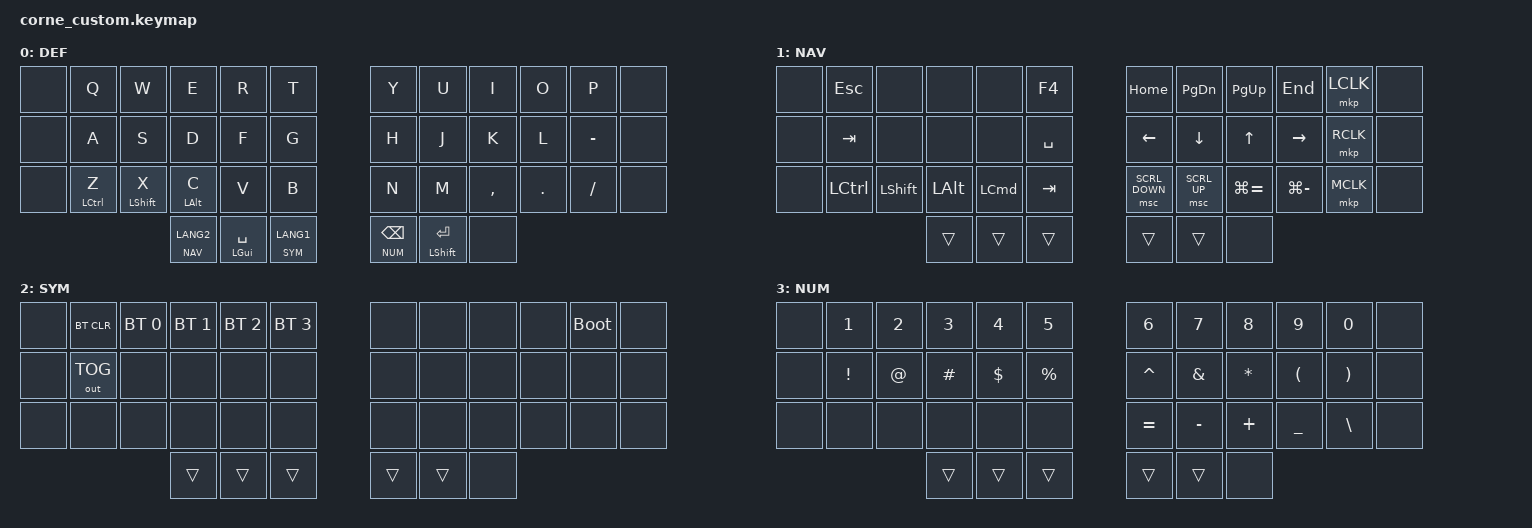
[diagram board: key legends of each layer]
/*
 * Corne Custom Keymap - Atreus Style
 */

#include <behaviors.dtsi>
#include <dt-bindings/zmk/bt.h>
#include <dt-bindings/zmk/keys.h>
#include <dt-bindings/zmk/mouse.h>
#include <dt-bindings/zmk/outputs.h>

#define DEF 0
#define NAV 1
#define SYM 2
#define NUM 3

&lt {
    tapping-term-ms = <200>;
    flavor = "tap-preferred";
    quick-tap-ms = <200>;
};

&mt {
    tapping-term-ms = <200>;
    flavor = "tap-preferred";
    quick-tap-ms = <200>;
};

&msc {
    time-to-max-speed-ms = <300>;
    acceleration-exponent = <1>;
};

/ {
    combos {
        compatible = "zmk,combos";
        combo_tmux_prefix {
            timeout-ms = <50>;
            key-positions = <15 16>;
            bindings = <&kp LC(B)>;
            layers = <0>;
        };
    };

    keymap {
        compatible = "zmk,keymap";

        DEF {
            bindings = <
&none  &kp Q         &kp W         &kp E         &kp R  &kp T    &kp Y         &kp U          &kp I      &kp O    &kp P      &none
&none  &kp A         &kp S         &kp D         &kp F  &kp G    &kp H         &kp J          &kp K      &kp L    &kp MINUS  &none
&none  &mt LCTRL Z   &mt LSHFT X   &mt LALT C    &kp V  &kp B    &kp N         &kp M          &kp COMMA  &kp DOT  &kp FSLH   &none
                                   &lt NAV LANG2 &mt LGUI SPACE  &lt SYM LANG1 &lt NUM BSPC   &mt LSHFT RET  &none
            >;
        };

        NAV {
            bindings = <
&none  &kp ESC    &none      &none     &none     &kp F4       &kp HOME      &kp PG_DN     &kp PG_UP      &kp END        &mkp LCLK  &none
&none  &kp TAB    &none      &none     &none     &kp SPACE    &kp LEFT      &kp DOWN      &kp UP         &kp RIGHT      &mkp RCLK  &none
&none  &kp LCTRL  &kp LSHFT  &kp LALT  &kp LCMD  &kp TAB      &msc SCRL_DOWN &msc SCRL_UP &kp LG(EQUAL)  &kp LG(MINUS)  &mkp MCLK  &none
                             &trans    &trans    &trans       &trans        &trans        &none
            >;
        };

        SYM {
            bindings = <
&none  &bt BT_CLR    &bt BT_SEL 0  &bt BT_SEL 1  &bt BT_SEL 2  &bt BT_SEL 3    &none   &none   &none   &none  &bootloader  &none
&none  &out OUT_TOG  &none         &none         &none         &none           &none   &none   &none   &none  &none        &none
&none  &none         &none         &none         &none         &none           &none   &none   &none   &none  &none        &none
                                   &trans        &trans        &trans          &trans  &trans  &none
            >;
        };

        NUM {
            bindings = <
&none  &kp N1    &kp N2  &kp N3   &kp N4    &kp N5      &kp N6     &kp N7    &kp N8     &kp N9    &kp N0    &none
&none  &kp EXCL  &kp AT  &kp HASH &kp DLLR  &kp PRCNT   &kp CARET  &kp AMPS  &kp ASTRK  &kp LPAR  &kp RPAR  &none
&none  &none     &none   &none    &none     &none       &kp EQUAL  &kp MINUS &kp PLUS   &kp UNDER &kp BSLH  &none
                         &trans   &trans    &trans      &trans     &trans    &none
            >;
        };
    };
};
